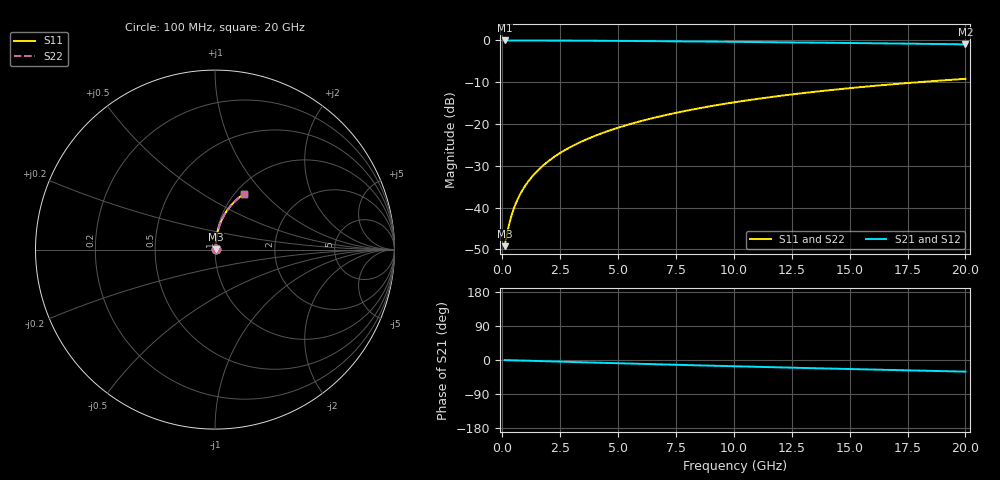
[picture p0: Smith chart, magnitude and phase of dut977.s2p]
! Touchstone file exported from HFSS 2024.1.0
!  File:  C:/UserFiles/LocalFiles/RDL_TSV_Batchsim/temp_RDL_top_977_1779939087.aedt
!  Generated:  11:33:46 AM May 28, 2026
!  Design:  RDL_top
!  Project:  temp_RDL_top_977_1779939087
!  Setup:  Setup1
!  Solution:  Sweep
! Variables:
!  dtsv = 10.80580581um
!  hbump = 3um
!  htsv = 95.14um
!  ldown = 100um
!  lrdl = 380.71um
!  p = 40
!  p1 = 48.46um
!  rhole = 1um
!  t = 450um
!  tdown = 3.915915916um
!  trdl = 3.17um
!  wdown = 15.38538539um
!  wrdl = 15.62um
# GHz S MA R 50.000000
! Terminal data exported
! Port[1] = Box2_T1
! Port[2] = Box2_T2
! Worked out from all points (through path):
!   200 points, 100 MHz to 20 GHz, reference 50 ohm
!   highest |S21| = -0.03 dB at 100 MHz (marker M1); lowest = -0.9 dB at 20 GHz (marker M2)
!   group delay of S21, straight-line fit = 4.25 ps
!   lowest |S11| = -49.2 dB at 100 MHz (marker M3), VSWR 1.01, Z = 50.3 + j0.19 ohm
!   |S11| at or under -10 dB: start of sweep to 17.99 GHz
!   |S22| runs from -49.2 to -9.2 dB; largest |S21 - S12| = 3.2e-15
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0.1  0.003451 33.2  0.9971 -0.2  0.9971 -0.2  0.003451 33.2
! Gamma 0 0 0 0
! Port Impedance 50 0 50 0
0.2  0.004779 51.8  0.997 -0.4  0.997 -0.4  0.004779 51.8
0.3  0.006369 61.5  0.9969 -0.5  0.9969 -0.5  0.006369 61.5
0.4  0.008044 67.0  0.9968 -0.7  0.9968 -0.7  0.008044 67.0
0.5  0.009749 70.6  0.9967 -0.9  0.9967 -0.9  0.009749 70.6
0.6  0.01147 73.1  0.9966 -1.1  0.9966 -1.1  0.01147 73.1
0.8  0.01493 76.4  0.9964 -1.4  0.9964 -1.4  0.01493 76.4
1.1  0.02016 79.2  0.996 -1.9  0.996 -1.9  0.02016 79.2
1.3  0.02367 80.4  0.9958 -2.3  0.9958 -2.3  0.02367 80.4
1.6  0.02896 81.5  0.9954 -2.8  0.9954 -2.8  0.02896 81.5
2.1  0.03784 82.5  0.9945 -3.7  0.9945 -3.7  0.03784 82.5
2.7  0.04856 83.0  0.9931 -4.7  0.9931 -4.7  0.04856 83.0
3.5  0.06295 83.0  0.9909 -6.1  0.9909 -6.1  0.06295 83.0
4.2  0.07561 82.7  0.9887 -7.2  0.9887 -7.2  0.07561 82.7
5  0.09015 82.2  0.9856 -8.6  0.9856 -8.6  0.09015 82.2
5.9  0.1066 81.4  0.9818 -10.1  0.9818 -10.1  0.1066 81.4
6.8  0.123 80.4  0.9777 -11.5  0.9777 -11.5  0.123 80.4
8.3  0.1504 78.6  0.9701 -13.9  0.9701 -13.9  0.1504 78.6
10.1  0.183 76.3  0.9601 -16.7  0.9601 -16.7  0.183 76.3
13.4  0.2411 71.8  0.9401 -21.6  0.9401 -21.6  0.2411 71.8
16.7  0.2959 67.2  0.9188 -26.2  0.9188 -26.2  0.2959 67.2
20  0.3466 62.7  0.8964 -30.7  0.8964 -30.7  0.3467 62.7
